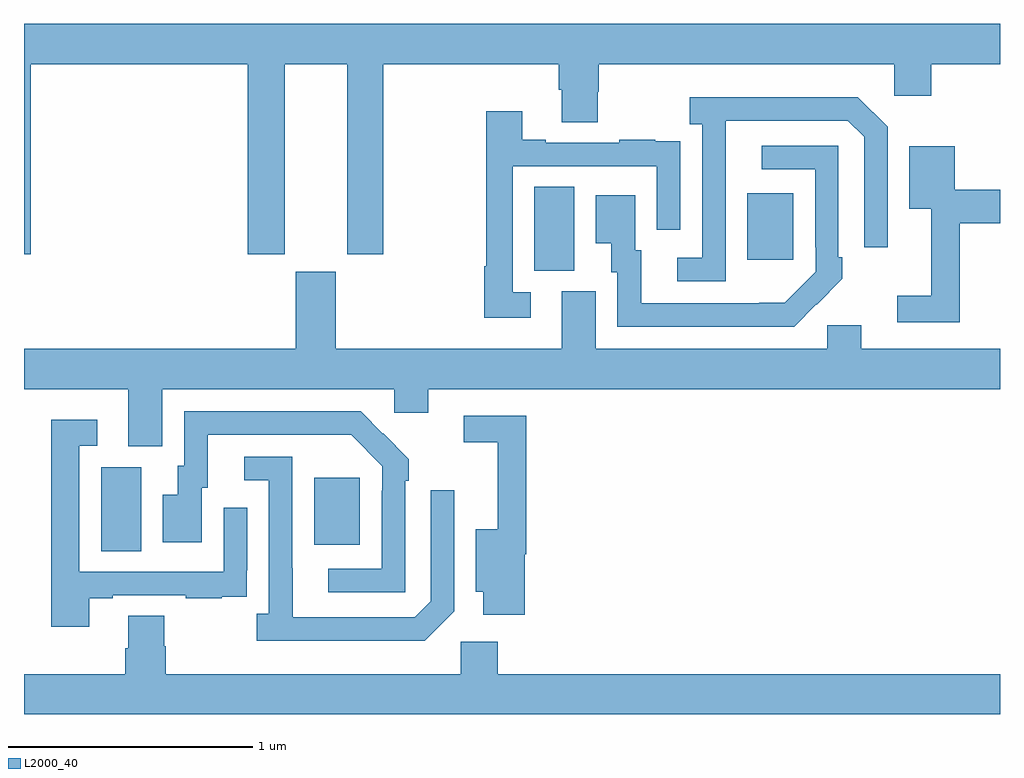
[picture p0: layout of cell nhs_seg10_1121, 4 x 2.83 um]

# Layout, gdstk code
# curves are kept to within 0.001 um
import gdstk
lib = gdstk.Library(unit=1e-6, precision=1e-09)
def R(c, l, rs):  # rectangles x0, y0, x1, y1
    for r in rs: c.add(gdstk.rectangle(r[:2], r[2:], *l))
def P(c, l, *ps):  # polygons
    for p in ps: c.add(gdstk.Polygon(p, *l))
L2000_40 = (2000, 40)

nhs_seg10_1121 = lib.new_cell('nhs_seg10_1121')
R(nhs_seg10_1121, L2000_40, [(169.316,1263.688,169.48,1264.032), (170.189,1263.713,170.377,1263.988), (171.092,1264.837,171.256,1265.18), (171.965,1264.881,172.153,1265.155)])
P(nhs_seg10_1121, L2000_40, [(169,1264.905),(169.028,1264.905),(169.028,1265.684),(169.916,1265.684),(169.916,1264.905),(170.068,1264.905),(170.068,1265.684),(170.324,1265.684),(170.324,1264.905),(170.472,1264.905),(170.472,1265.684),(171.191,1265.684),(171.191,1265.578),(171.203,1265.578),(171.203,1265.446),(171.351,1265.446),(171.351,1265.571),(171.356,1265.571),(171.356,1265.684),(172.566,1265.684),(172.566,1265.553),(172.718,1265.553),(172.718,1265.684),(173,1265.684),(173,1265.848),(169,1265.848)],
  [(171.876,1265.251),(171.877,1265.451),(172.377,1265.451),(172.443,1265.385),(172.443,1264.932),(172.539,1264.932),(172.539,1265.427),(172.418,1265.548),(171.729,1265.548),(171.729,1265.438),(171.78,1265.438),(171.78,1264.89),(171.678,1264.89),(171.678,1264.794),(171.876,1264.794)],
  [(171.076,1264.749),(171.003,1264.749),(171.003,1265.265),(171.594,1265.265),(171.594,1265.004),(171.69,1265.004),(171.69,1265.258),(171.689,1265.258),(171.689,1265.367),(171.587,1265.367),(171.587,1265.374),(171.439,1265.374),(171.439,1265.361),(171.139,1265.361),(171.139,1265.374),(171.043,1265.374),(171.043,1265.491),(170.895,1265.491),(170.895,1264.856),(170.887,1264.856),(170.887,1264.644),(171.076,1264.644)],
  [(172.247,1264.699),(172.248,1264.698),(172.353,1264.803),(172.353,1264.891),(172.338,1264.891),(172.338,1265.349),(172.023,1265.349),(172.023,1265.253),(172.242,1265.253),(172.242,1264.933),(172.245,1264.933),(172.245,1264.833),(172.117,1264.705),(171.529,1264.704),(171.529,1264.92),(171.505,1264.92),(171.505,1265.146),(171.344,1265.146),(171.344,1264.949),(171.407,1264.949),(171.407,1264.83),(171.432,1264.83),(171.432,1264.608),(172.156,1264.608)],
  [(172.835,1265.032),(173,1265.032),(173,1265.168),(172.815,1265.168),(172.815,1265.347),(172.628,1265.347),(172.628,1265.09),(172.718,1265.09),(172.718,1264.735),(172.578,1264.735),(172.578,1264.626),(172.835,1264.626)],
  [(169.567,1264.352),(170.517,1264.352),(170.517,1264.254),(170.656,1264.254),(170.656,1264.352),(173,1264.352),(173,1264.516),(172.432,1264.516),(172.432,1264.614),(172.293,1264.614),(172.293,1264.516),(171.343,1264.516),(171.343,1264.752),(171.203,1264.752),(171.203,1264.516),(170.278,1264.516),(170.278,1264.833),(170.114,1264.833),(170.114,1264.516),(169,1264.516),(169,1264.352),(169.427,1264.352),(169.427,1264.117),(169.567,1264.117)],
  [(170.562,1263.977),(170.577,1263.977),(170.577,1264.065),(170.38,1264.26),(169.656,1264.26),(169.656,1264.038),(169.631,1264.038),(169.631,1263.919),(169.568,1263.919),(169.568,1263.723),(169.729,1263.723),(169.729,1263.948),(169.753,1263.948),(169.753,1264.164),(170.341,1264.164),(170.469,1264.035),(170.469,1263.935),(170.466,1263.935),(170.466,1263.615),(170.247,1263.615),(170.247,1263.519),(170.562,1263.519)],
  [(171.053,1263.674),(171.059,1263.674),(171.059,1264.242),(170.802,1264.242),(170.802,1264.134),(170.942,1264.134),(170.942,1263.778),(170.852,1263.778),(170.852,1263.521),(170.882,1263.521),(170.882,1263.426),(171.053,1263.426)],
  [(169.267,1263.495),(169.363,1263.495),(169.363,1263.507),(169.663,1263.507),(169.663,1263.495),(169.811,1263.495),(169.811,1263.501),(169.913,1263.501),(169.913,1263.61),(169.914,1263.61),(169.914,1263.865),(169.818,1263.865),(169.818,1263.603),(169.227,1263.603),(169.227,1264.119),(169.3,1264.119),(169.3,1264.225),(169.111,1264.225),(169.111,1263.378),(169.267,1263.378)],
  [(170.763,1263.441),(170.763,1263.937),(170.667,1263.937),(170.667,1263.483),(170.601,1263.417),(170.101,1263.417),(170.1,1264.074),(169.902,1264.074),(169.902,1263.978),(170.004,1263.978),(170.004,1263.43),(169.953,1263.43),(169.953,1263.32),(170.642,1263.32)],
  [(173,1263.184),(170.942,1263.184),(170.942,1263.316),(170.79,1263.316),(170.79,1263.184),(169.58,1263.184),(169.58,1263.297),(169.575,1263.297),(169.575,1263.422),(169.427,1263.422),(169.427,1263.29),(169.415,1263.29),(169.415,1263.184),(169,1263.184),(169,1263.02),(173,1263.02)])

lib.write_gds('nhs_seg10_1121.gds')
